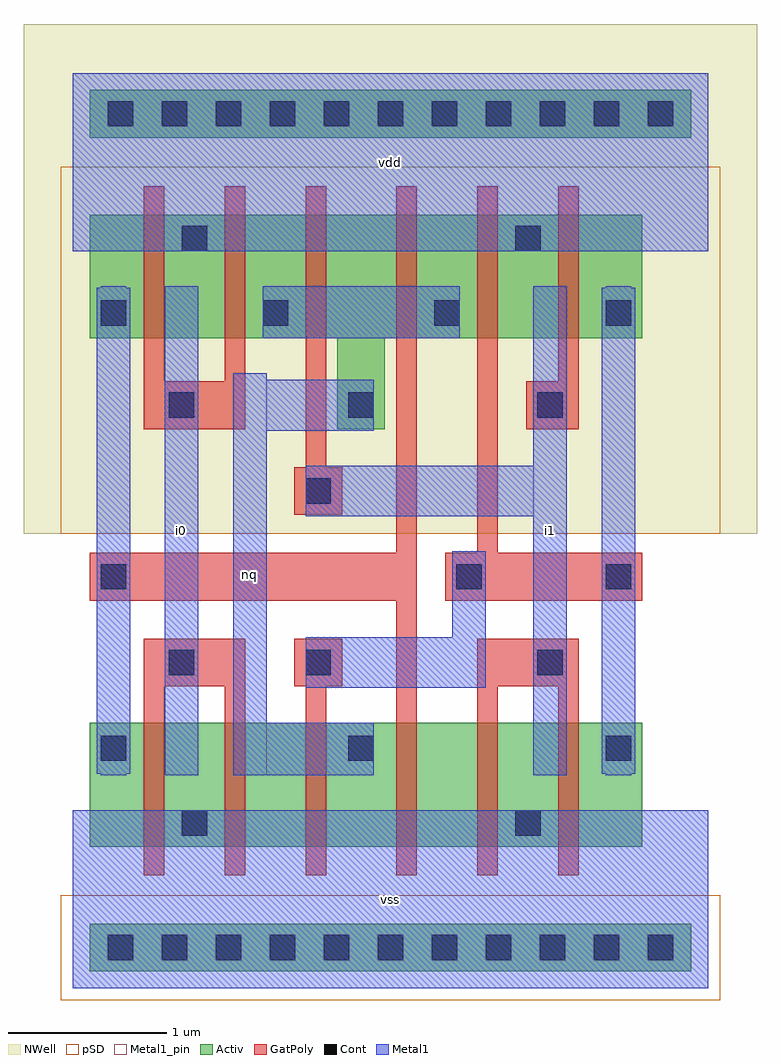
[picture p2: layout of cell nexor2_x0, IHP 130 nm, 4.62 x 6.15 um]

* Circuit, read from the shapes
.subckt nexor2_x0 i0 i1 nq vdd vss
XM1 vss i0 n1 vss sg13_lv_nmos w=0.78u l=0.13u
XM2 n2 i0 vss vss sg13_lv_nmos w=0.78u l=0.13u
XM3 nq n3 n2 vss sg13_lv_nmos w=0.78u l=0.13u
XM4 n4 n1 nq vss sg13_lv_nmos w=0.78u l=0.13u
XM5 vss i1 n4 vss sg13_lv_nmos w=0.78u l=0.13u
XM6 n3 i1 vss vss sg13_lv_nmos w=0.78u l=0.13u
XM7 vdd i0 n1 vdd sg13_lv_pmos w=0.78u l=0.13u
XM8 n5 i0 vdd vdd sg13_lv_pmos w=0.78u l=0.13u
XM9 nq i1 n5 vdd sg13_lv_pmos w=0.78u l=0.13u
XM10 n5 n1 nq vdd sg13_lv_pmos w=0.78u l=0.13u
XM11 vdd n3 n5 vdd sg13_lv_pmos w=0.78u l=0.13u
XM12 n3 i1 vdd vdd sg13_lv_pmos w=0.78u l=0.13u
.ends

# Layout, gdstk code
import gdstk
lib = gdstk.Library(unit=1e-6, precision=1e-09)
def R(c, l, rs):  # rectangles x0, y0, x1, y1
    for r in rs: c.add(gdstk.rectangle(r[:2], r[2:], *l))
def P(c, l, *ps):  # polygons
    for p in ps: c.add(gdstk.Polygon(p, *l))
Activ = (1, 0)
GatPoly = (5, 0)
Cont = (6, 0)
Metal1 = (8, 0)
Metal1_pin = (8, 2)
pSD = (14, 0)
NWell = (31, 0)

nexor2_x0 = lib.new_cell('nexor2_x0')
P(nexor2_x0, Activ, [(0.615,4.09),(0.615,4.87),(0.915,4.87),(0.915,4.09),(0.615,4.09)],
  [(0.955,4.09),(0.955,4.87),(1.085,4.87),(1.085,4.09),(0.955,4.09)],
  [(0.725,4.09),(0.725,4.87),(0.955,4.87),(0.955,4.09),(0.725,4.09)],
  [(0.105,5.355),(0.105,5.655),(3.895,5.655),(3.895,5.355),(0.105,5.355)],
  [(2.825,4.09),(2.825,4.87),(3.055,4.87),(3.055,4.09),(2.825,4.09)],
  [(0.445,4.09),(0.445,4.87),(0.575,4.87),(0.575,4.09),(0.445,4.09)],
  [(0.645,4.09),(0.645,4.87),(0.885,4.87),(0.885,4.09),(0.645,4.09)],
  [(2.035,4.09),(2.035,4.87),(2.165,4.87),(2.165,4.09),(2.035,4.09)],
  [(2.675,4.09),(2.675,4.87),(2.905,4.87),(2.905,4.09),(2.675,4.09)],
  [(0.15,5.355),(0.15,5.655),(3.85,5.655),(3.85,5.355),(0.15,5.355)],
  [(0.615,4.57),(0.615,4.87),(0.915,4.87),(0.915,4.57),(0.615,4.57)],
  [(2.545,4.09),(2.545,4.87),(2.675,4.87),(2.675,4.09),(2.545,4.09)],
  [(2.715,4.09),(2.715,4.87),(3.015,4.87),(3.015,4.09),(2.715,4.09)],
  [(3.055,4.09),(3.055,4.87),(3.185,4.87),(3.185,4.09),(3.055,4.09)],
  [(2.745,4.09),(2.745,4.87),(2.985,4.87),(2.985,4.09),(2.745,4.09)],
  [(0.575,4.09),(0.575,4.87),(0.805,4.87),(0.805,4.09),(0.575,4.09)],
  [(2.715,4.57),(2.715,4.87),(3.015,4.87),(3.015,4.57),(2.715,4.57)],
  [(1.465,4.09),(1.465,4.87),(1.595,4.87),(1.595,4.09),(1.465,4.09)],
  [(0.955,0.89),(0.955,1.67),(1.085,1.67),(1.085,0.89),(0.955,0.89)],
  [(0.615,0.89),(0.615,1.19),(0.915,1.19),(0.915,0.89),(0.615,0.89)],
  [(0.15,0.105),(0.15,0.405),(3.85,0.405),(3.85,0.105),(0.15,0.105)],
  [(2.545,0.89),(2.545,1.67),(2.675,1.67),(2.675,0.89),(2.545,0.89)],
  [(0.445,0.89),(0.445,1.67),(0.575,1.67),(0.575,0.89),(0.445,0.89)],
  [(2.715,0.89),(2.715,1.67),(3.015,1.67),(3.015,0.89),(2.715,0.89)],
  [(2.715,0.89),(2.715,1.19),(3.015,1.19),(3.015,0.89),(2.715,0.89)],
  [(0.615,0.89),(0.615,1.67),(0.915,1.67),(0.915,0.89),(0.615,0.89)],
  [(0.575,0.89),(0.575,1.67),(0.805,1.67),(0.805,0.89),(0.575,0.89)],
  [(2.035,0.89),(2.035,1.67),(2.165,1.67),(2.165,0.89),(2.035,0.89)],
  [(2.675,0.89),(2.675,1.67),(2.905,1.67),(2.905,0.89),(2.675,0.89)],
  [(0.105,0.105),(0.105,0.405),(3.895,0.405),(3.895,0.105),(0.105,0.105)],
  [(0.645,0.89),(0.645,1.67),(0.885,1.67),(0.885,0.89),(0.645,0.89)],
  [(0.725,0.89),(0.725,1.67),(0.955,1.67),(0.955,0.89),(0.725,0.89)],
  [(1.465,0.89),(1.465,1.67),(1.595,1.67),(1.595,0.89),(1.465,0.89)],
  [(2.825,0.89),(2.825,1.67),(3.055,1.67),(3.055,0.89),(2.825,0.89)],
  [(3.055,0.89),(3.055,1.67),(3.185,1.67),(3.185,0.89),(3.055,0.89)],
  [(2.745,0.89),(2.745,1.67),(2.985,1.67),(2.985,0.89),(2.745,0.89)],
  [(1.09,0.89),(1.09,1.67),(1.46,1.67),(1.46,0.89),(1.09,0.89)],
  [(1.235,0.89),(1.235,1.67),(1.465,1.67),(1.465,0.89),(1.235,0.89)],
  [(1.085,0.89),(1.085,1.67),(1.315,1.67),(1.315,0.89),(1.085,0.89)],
  [(1.155,0.89),(1.155,1.67),(1.395,1.67),(1.395,0.89),(1.155,0.89)],
  [(2.165,0.89),(2.165,1.67),(2.395,1.67),(2.395,0.89),(2.165,0.89)],
  [(2.17,0.89),(2.17,1.67),(2.54,1.67),(2.54,0.89),(2.17,0.89)],
  [(2.235,0.89),(2.235,1.67),(2.475,1.67),(2.475,0.89),(2.235,0.89)],
  [(2.315,0.89),(2.315,1.67),(2.545,1.67),(2.545,0.89),(2.315,0.89)],
  [(2.205,4.1),(2.205,4.4),(2.505,4.4),(2.505,4.1),(2.205,4.1)],
  [(1.125,4.09),(1.125,4.87),(1.425,4.87),(1.425,4.09),(1.125,4.09)],
  [(2.165,4.09),(2.165,4.87),(2.395,4.87),(2.395,4.09),(2.165,4.09)],
  [(2.235,4.09),(2.235,4.87),(2.475,4.87),(2.475,4.09),(2.235,4.09)],
  [(2.205,4.09),(2.205,4.87),(2.505,4.87),(2.505,4.09),(2.205,4.09)],
  [(2.315,4.09),(2.315,4.87),(2.545,4.87),(2.545,4.09),(2.315,4.09)],
  [(1.235,4.09),(1.235,4.87),(1.465,4.87),(1.465,4.09),(1.235,4.09)],
  [(1.125,4.1),(1.125,4.4),(1.425,4.4),(1.425,4.1),(1.125,4.1)],
  [(1.085,4.09),(1.085,4.87),(1.315,4.87),(1.315,4.09),(1.085,4.09)],
  [(1.155,4.09),(1.155,4.87),(1.395,4.87),(1.395,4.09),(1.155,4.09)],
  [(0.215,0.89),(0.215,1.67),(0.445,1.67),(0.445,0.89),(0.215,0.89)],
  [(0.105,0.89),(0.105,1.67),(0.375,1.67),(0.375,0.89),(0.105,0.89)],
  [(0.105,4.1),(0.105,4.4),(0.405,4.4),(0.405,4.1),(0.105,4.1)],
  [(0.105,0.89),(0.105,1.67),(0.405,1.67),(0.405,0.89),(0.105,0.89)],
  [(0.105,4.09),(0.105,4.87),(0.375,4.87),(0.375,4.09),(0.105,4.09)],
  [(0.105,1.36),(0.105,1.66),(0.405,1.66),(0.405,1.36),(0.105,1.36)],
  [(0.105,4.09),(0.105,4.87),(0.405,4.87),(0.405,4.09),(0.105,4.09)],
  [(0.215,4.09),(0.215,4.87),(0.445,4.87),(0.445,4.09),(0.215,4.09)],
  [(3.185,0.89),(3.185,1.67),(3.415,1.67),(3.415,0.89),(3.185,0.89)],
  [(3.185,4.09),(3.185,4.87),(3.415,4.87),(3.415,4.09),(3.185,4.09)],
  [(3.285,1.36),(3.285,1.66),(3.585,1.66),(3.585,1.36),(3.285,1.36)],
  [(3.285,0.89),(3.285,1.67),(3.585,1.67),(3.585,0.89),(3.285,0.89)],
  [(3.255,4.09),(3.255,4.87),(3.585,4.87),(3.585,4.09),(3.255,4.09)],
  [(3.285,4.1),(3.285,4.4),(3.585,4.4),(3.585,4.1),(3.285,4.1)],
  [(3.285,4.09),(3.285,4.87),(3.585,4.87),(3.585,4.09),(3.285,4.09)],
  [(3.255,0.89),(3.255,1.67),(3.585,1.67),(3.585,0.89),(3.255,0.89)],
  [(1.595,0.89),(1.595,1.67),(1.825,1.67),(1.825,0.89),(1.595,0.89)],
  [(1.665,0.89),(1.665,1.67),(1.965,1.67),(1.965,0.89),(1.665,0.89)],
  [(1.665,3.52),(1.665,3.82),(1.965,3.82),(1.965,3.52),(1.665,3.52)],
  [(1.665,3.52),(1.665,4.87),(1.965,4.87),(1.965,3.52),(1.665,3.52)],
  [(1.665,0.89),(1.665,1.67),(1.965,1.67),(1.965,0.89),(1.665,0.89)],
  [(1.805,4.09),(1.805,4.87),(2.035,4.87),(2.035,4.09),(1.805,4.09)],
  [(1.665,4.09),(1.665,4.87),(1.965,4.87),(1.965,4.09),(1.665,4.09)],
  [(1.805,0.89),(1.805,1.67),(2.035,1.67),(2.035,0.89),(1.805,0.89)],
  [(1.665,1.36),(1.665,1.66),(1.965,1.66),(1.965,1.36),(1.665,1.36)],
  [(1.595,4.09),(1.595,4.87),(1.825,4.87),(1.825,4.09),(1.595,4.09)])
P(nexor2_x0, GatPoly, [(0.535,3.52),(0.535,3.82),(0.835,3.82),(0.835,3.52),(0.535,3.52)],
  [(0.445,0.71),(0.445,2.2),(0.575,2.2),(0.575,0.71),(0.445,0.71)],
  [(0.445,3.91),(0.445,5.05),(0.575,5.05),(0.575,3.91),(0.445,3.91)],
  [(0.51,1.9),(0.51,2.2),(1.02,2.2),(1.02,1.9),(0.51,1.9)],
  [(0.445,3.52),(0.445,5.05),(0.575,5.05),(0.575,3.52),(0.445,3.52)],
  [(0.955,3.91),(0.955,5.05),(1.085,5.05),(1.085,3.91),(0.955,3.91)],
  [(0.535,1.9),(0.535,2.2),(0.835,2.2),(0.835,1.9),(0.535,1.9)],
  [(0.445,0.71),(0.445,1.85),(0.575,1.85),(0.575,0.71),(0.445,0.71)],
  [(0.955,0.71),(0.955,2.2),(1.085,2.2),(1.085,0.71),(0.955,0.71)],
  [(0.51,3.52),(0.51,3.82),(1.02,3.82),(1.02,3.52),(0.51,3.52)],
  [(0.955,0.71),(0.955,1.85),(1.085,1.85),(1.085,0.71),(0.955,0.71)],
  [(0.955,3.52),(0.955,5.05),(1.085,5.05),(1.085,3.52),(0.955,3.52)],
  [(2.035,3.91),(2.035,5.05),(2.165,5.05),(2.165,3.91),(2.035,3.91)],
  [(2.035,0.71),(2.035,1.85),(2.165,1.85),(2.165,0.71),(2.035,0.71)],
  [(0.255,2.44),(0.255,2.74),(2.1,2.74),(2.1,2.44),(0.255,2.44)],
  [(0.105,2.44),(0.105,2.74),(0.405,2.74),(0.405,2.44),(0.105,2.44)],
  [(2.035,0.71),(2.035,3.91),(2.165,3.91),(2.165,0.71),(2.035,0.71)],
  [(3.005,3.52),(3.005,3.82),(3.12,3.82),(3.12,3.52),(3.005,3.52)],
  [(1.53,2.98),(1.53,3.28),(1.545,3.28),(1.545,2.98),(1.53,2.98)],
  [(3.055,0.71),(3.055,2.2),(3.185,2.2),(3.185,0.71),(3.055,0.71)],
  [(1.395,2.98),(1.395,3.28),(1.695,3.28),(1.695,2.98),(1.395,2.98)],
  [(2.855,1.9),(2.855,2.2),(3.155,2.2),(3.155,1.9),(2.855,1.9)],
  [(2.545,0.71),(2.545,1.85),(2.675,1.85),(2.675,0.71),(2.545,0.71)],
  [(3.055,3.91),(3.055,5.05),(3.185,5.05),(3.185,3.91),(3.055,3.91)],
  [(3.055,3.52),(3.055,5.05),(3.185,5.05),(3.185,3.52),(3.055,3.52)],
  [(2.545,0.71),(2.545,2.2),(2.675,2.2),(2.675,0.71),(2.545,0.71)],
  [(1.465,2.98),(1.465,5.05),(1.595,5.05),(1.595,2.98),(1.465,2.98)],
  [(2.61,1.9),(2.61,2.2),(3.12,2.2),(3.12,1.9),(2.61,1.9)],
  [(3.055,0.71),(3.055,1.85),(3.185,1.85),(3.185,0.71),(3.055,0.71)],
  [(1.465,3.91),(1.465,5.05),(1.595,5.05),(1.595,3.91),(1.465,3.91)],
  [(2.855,3.52),(2.855,3.82),(3.155,3.82),(3.155,3.52),(2.855,3.52)],
  [(2.545,3.91),(2.545,5.05),(2.675,5.05),(2.675,3.91),(2.545,3.91)],
  [(2.545,2.44),(2.545,5.05),(2.675,5.05),(2.675,2.44),(2.545,2.44)],
  [(1.465,0.71),(1.465,1.85),(1.595,1.85),(1.595,0.71),(1.465,0.71)],
  [(1.53,1.9),(1.53,2.2),(1.545,2.2),(1.545,1.9),(1.53,1.9)],
  [(1.395,1.9),(1.395,2.2),(1.695,2.2),(1.695,1.9),(1.395,1.9)],
  [(1.465,0.71),(1.465,2.2),(1.595,2.2),(1.595,0.71),(1.465,0.71)],
  [(2.495,2.44),(2.495,2.74),(3.435,2.74),(3.435,2.44),(2.495,2.44)],
  [(2.345,2.44),(2.345,2.74),(2.645,2.74),(2.645,2.44),(2.345,2.44)],
  [(3.285,2.44),(3.285,2.74),(3.585,2.74),(3.585,2.44),(3.285,2.44)])
P(nexor2_x0, Cont, [(2.785,4.64),(2.785,4.8),(2.945,4.8),(2.945,4.64),(2.785,4.64)],
  [(0.685,4.64),(0.685,4.8),(0.845,4.8),(0.845,4.64),(0.685,4.64)],
  [(3.62,5.425),(3.62,5.585),(3.78,5.585),(3.78,5.425),(3.62,5.425)],
  [(3.28,5.425),(3.28,5.585),(3.44,5.585),(3.44,5.425),(3.28,5.425)],
  [(2.94,5.425),(2.94,5.585),(3.1,5.585),(3.1,5.425),(2.94,5.425)],
  [(2.6,5.425),(2.6,5.585),(2.76,5.585),(2.76,5.425),(2.6,5.425)],
  [(2.26,5.425),(2.26,5.585),(2.42,5.585),(2.42,5.425),(2.26,5.425)],
  [(1.92,5.425),(1.92,5.585),(2.08,5.585),(2.08,5.425),(1.92,5.425)],
  [(1.58,5.425),(1.58,5.585),(1.74,5.585),(1.74,5.425),(1.58,5.425)],
  [(1.24,5.425),(1.24,5.585),(1.4,5.585),(1.4,5.425),(1.24,5.425)],
  [(0.9,5.425),(0.9,5.585),(1.06,5.585),(1.06,5.425),(0.9,5.425)],
  [(0.56,5.425),(0.56,5.585),(0.72,5.585),(0.72,5.425),(0.56,5.425)],
  [(0.22,5.425),(0.22,5.585),(0.38,5.585),(0.38,5.425),(0.22,5.425)],
  [(2.785,0.96),(2.785,1.12),(2.945,1.12),(2.945,0.96),(2.785,0.96)],
  [(0.685,0.96),(0.685,1.12),(0.845,1.12),(0.845,0.96),(0.685,0.96)],
  [(3.62,0.175),(3.62,0.335),(3.78,0.335),(3.78,0.175),(3.62,0.175)],
  [(3.28,0.175),(3.28,0.335),(3.44,0.335),(3.44,0.175),(3.28,0.175)],
  [(2.94,0.175),(2.94,0.335),(3.1,0.335),(3.1,0.175),(2.94,0.175)],
  [(2.6,0.175),(2.6,0.335),(2.76,0.335),(2.76,0.175),(2.6,0.175)],
  [(2.26,0.175),(2.26,0.335),(2.42,0.335),(2.42,0.175),(2.26,0.175)],
  [(1.92,0.175),(1.92,0.335),(2.08,0.335),(2.08,0.175),(1.92,0.175)],
  [(1.58,0.175),(1.58,0.335),(1.74,0.335),(1.74,0.175),(1.58,0.175)],
  [(1.24,0.175),(1.24,0.335),(1.4,0.335),(1.4,0.175),(1.24,0.175)],
  [(0.22,0.175),(0.22,0.335),(0.38,0.335),(0.38,0.175),(0.22,0.175)],
  [(0.56,0.175),(0.56,0.335),(0.72,0.335),(0.72,0.175),(0.56,0.175)],
  [(0.9,0.175),(0.9,0.335),(1.06,0.335),(1.06,0.175),(0.9,0.175)],
  [(2.275,4.17),(2.275,4.33),(2.435,4.33),(2.435,4.17),(2.275,4.17)],
  [(1.195,4.17),(1.195,4.33),(1.355,4.33),(1.355,4.17),(1.195,4.17)],
  [(0.605,1.97),(0.605,2.13),(0.765,2.13),(0.765,1.97),(0.605,1.97)],
  [(0.605,3.59),(0.605,3.75),(0.765,3.75),(0.765,3.59),(0.605,3.59)],
  [(0.175,2.51),(0.175,2.67),(0.335,2.67),(0.335,2.51),(0.175,2.51)],
  [(0.175,1.43),(0.175,1.59),(0.335,1.59),(0.335,1.43),(0.175,1.43)],
  [(0.175,4.17),(0.175,4.33),(0.335,4.33),(0.335,4.17),(0.175,4.17)],
  [(2.925,1.97),(2.925,2.13),(3.085,2.13),(3.085,1.97),(2.925,1.97)],
  [(1.465,3.05),(1.465,3.21),(1.625,3.21),(1.625,3.05),(1.465,3.05)],
  [(2.925,3.59),(2.925,3.75),(3.085,3.75),(3.085,3.59),(2.925,3.59)],
  [(3.355,2.51),(3.355,2.67),(3.515,2.67),(3.515,2.51),(3.355,2.51)],
  [(3.355,1.43),(3.355,1.59),(3.515,1.59),(3.515,1.43),(3.355,1.43)],
  [(3.355,4.17),(3.355,4.33),(3.515,4.33),(3.515,4.17),(3.355,4.17)],
  [(2.415,2.51),(2.415,2.67),(2.575,2.67),(2.575,2.51),(2.415,2.51)],
  [(1.465,1.97),(1.465,2.13),(1.625,2.13),(1.625,1.97),(1.465,1.97)],
  [(1.735,1.43),(1.735,1.59),(1.895,1.59),(1.895,1.43),(1.735,1.43)],
  [(1.735,3.59),(1.735,3.75),(1.895,3.75),(1.895,3.59),(1.735,3.59)])
R(nexor2_x0, Metal1, [(0,0,4,1.12), (0.58,1.34,0.79,4.42), (1.01,1.34,1.22,3.87), (2.9,1.34,3.11,4.42), (0,4.64,4,5.76)])
P(nexor2_x0, Metal1, [(0.605,4.64),(0.605,4.8),(0.925,4.8),(0.925,4.64),(0.605,4.64)],
  [(2.705,4.64),(2.705,4.8),(3.025,4.8),(3.025,4.64),(2.705,4.64)],
  [(0.22,5.345),(0.22,5.665),(3.78,5.665),(3.78,5.345),(0.22,5.345)],
  [(0,4.64),(0,5.76),(4,5.76),(4,4.64),(0,4.64)],
  [(2.705,0.96),(2.705,1.12),(3.025,1.12),(3.025,0.96),(2.705,0.96)],
  [(0.605,0.96),(0.605,1.12),(0.925,1.12),(0.925,0.96),(0.605,0.96)],
  [(0,0),(0,1.12),(4,1.12),(4,0),(0,0)],
  [(0.22,0.095),(0.22,0.415),(3.78,0.415),(3.78,0.095),(0.22,0.095)],
  [(2.275,4.09),(2.275,4.41),(2.435,4.41),(2.435,4.09),(2.275,4.09)],
  [(1.275,4.09),(1.275,4.42),(2.355,4.42),(2.355,4.09),(1.275,4.09)],
  [(2.275,4.09),(2.275,4.42),(2.435,4.42),(2.435,4.09),(2.275,4.09)],
  [(1.195,4.09),(1.195,4.41),(1.355,4.41),(1.355,4.09),(1.195,4.09)],
  [(1.195,4.09),(1.195,4.42),(1.355,4.42),(1.355,4.09),(1.195,4.09)],
  [(0.605,3.51),(0.605,3.83),(0.765,3.83),(0.765,3.51),(0.605,3.51)],
  [(0.58,1.34),(0.58,4.42),(0.79,4.42),(0.79,1.34),(0.58,1.34)],
  [(0.605,1.89),(0.605,2.21),(0.765,2.21),(0.765,1.89),(0.605,1.89)],
  [(0.175,1.35),(0.175,1.67),(0.335,1.67),(0.335,1.35),(0.175,1.35)],
  [(0.175,1.34),(0.175,1.67),(0.335,1.67),(0.335,1.34),(0.175,1.34)],
  [(0.175,2.43),(0.175,2.75),(0.335,2.75),(0.335,2.43),(0.175,2.43)],
  [(0.15,1.35),(0.15,4.41),(0.36,4.41),(0.36,1.35),(0.15,1.35)],
  [(0.175,4.09),(0.175,4.42),(0.335,4.42),(0.335,4.09),(0.175,4.09)],
  [(0.175,4.09),(0.175,4.41),(0.335,4.41),(0.335,4.09),(0.175,4.09)],
  [(2.925,3.51),(2.925,3.83),(3.085,3.83),(3.085,3.51),(2.925,3.51)],
  [(2.925,1.89),(2.925,2.21),(3.085,2.21),(3.085,1.89),(2.925,1.89)],
  [(1.545,2.97),(1.545,3.29),(3.005,3.29),(3.005,2.97),(1.545,2.97)],
  [(2.9,1.34),(2.9,4.42),(3.11,4.42),(3.11,1.34),(2.9,1.34)],
  [(1.465,2.97),(1.465,3.29),(1.625,3.29),(1.625,2.97),(1.465,2.97)],
  [(2.9,2.97),(2.9,3.29),(3.11,3.29),(3.11,2.97),(2.9,2.97)],
  [(2.415,2.43),(2.415,2.75),(2.575,2.75),(2.575,2.43),(2.415,2.43)],
  [(3.355,1.34),(3.355,1.67),(3.515,1.67),(3.515,1.34),(3.355,1.34)],
  [(3.355,4.09),(3.355,4.42),(3.515,4.42),(3.515,4.09),(3.355,4.09)],
  [(3.33,1.35),(3.33,4.41),(3.54,4.41),(3.54,1.35),(3.33,1.35)],
  [(1.545,1.89),(1.545,2.21),(2.495,2.21),(2.495,1.89),(1.545,1.89)],
  [(1.465,1.89),(1.465,2.21),(1.625,2.21),(1.625,1.89),(1.465,1.89)],
  [(2.39,1.89),(2.39,2.21),(2.6,2.21),(2.6,1.89),(2.39,1.89)],
  [(3.355,4.09),(3.355,4.41),(3.515,4.41),(3.515,4.09),(3.355,4.09)],
  [(2.39,1.89),(2.39,2.75),(2.6,2.75),(2.6,1.89),(2.39,1.89)],
  [(3.355,2.43),(3.355,2.75),(3.515,2.75),(3.515,2.43),(3.355,2.43)],
  [(3.355,1.35),(3.355,1.67),(3.515,1.67),(3.515,1.35),(3.355,1.35)],
  [(1.01,1.34),(1.01,3.87),(1.22,3.87),(1.22,1.34),(1.01,1.34)],
  [(1.735,1.34),(1.735,1.67),(1.895,1.67),(1.895,1.34),(1.735,1.34)],
  [(1.735,1.35),(1.735,1.67),(1.895,1.67),(1.895,1.35),(1.735,1.35)],
  [(1.115,1.34),(1.115,1.67),(1.815,1.67),(1.815,1.34),(1.115,1.34)],
  [(1.01,3.51),(1.01,3.83),(1.22,3.83),(1.22,3.51),(1.01,3.51)],
  [(1.115,3.51),(1.115,3.83),(1.815,3.83),(1.815,3.51),(1.115,3.51)],
  [(1.01,1.35),(1.01,1.67),(1.22,1.67),(1.22,1.35),(1.01,1.35)],
  [(1.735,3.51),(1.735,3.83),(1.895,3.83),(1.895,3.51),(1.735,3.51)])
R(nexor2_x0, Metal1_pin, [(0,0,4,1.12), (0,0,4,1.12), (0.58,1.34,0.79,4.42), (0.58,1.34,0.79,4.42), (1.01,1.34,1.22,3.87), (1.01,1.34,1.22,3.87), (2.9,1.34,3.11,4.42), (2.9,1.34,3.11,4.42), (0,4.64,4,5.76), (0,4.64,4,5.76)])
P(nexor2_x0, pSD, [(2.135,3.91),(2.135,5.05),(3.085,5.05),(3.085,3.91),(2.135,3.91)],
  [(2.025,3.8),(2.025,4.7),(2.685,4.7),(2.685,3.8),(2.025,3.8)],
  [(1.485,3.34),(1.485,4),(2.145,4),(2.145,3.34),(1.485,3.34)],
  [(2.535,4.27),(2.535,5.17),(3.195,5.17),(3.195,4.27),(2.535,4.27)],
  [(0.465,3.79),(0.465,5.17),(1.065,5.17),(1.065,3.79),(0.465,3.79)],
  [(2.055,3.79),(2.055,5.17),(2.655,5.17),(2.655,3.79),(2.055,3.79)],
  [(0.145,3.79),(0.145,5.17),(0.875,5.17),(0.875,3.79),(0.145,3.79)],
  [(3.105,3.8),(3.105,4.7),(3.765,4.7),(3.765,3.8),(3.105,3.8)],
  [(3.105,3.79),(3.105,5.17),(3.765,5.17),(3.765,3.79),(3.105,3.79)],
  [(0.945,3.79),(0.945,5.17),(1.605,5.17),(1.605,3.79),(0.945,3.79)],
  [(2.645,3.91),(2.645,5.05),(3.595,5.05),(3.595,3.91),(2.645,3.91)],
  [(2.535,3.79),(2.535,5.17),(3.195,5.17),(3.195,3.79),(2.535,3.79)],
  [(0.035,3.91),(0.035,5.05),(0.985,5.05),(0.985,3.91),(0.035,3.91)],
  [(2.565,3.79),(2.565,5.17),(3.165,5.17),(3.165,3.79),(2.565,3.79)],
  [(1.625,3.91),(1.625,5.05),(2.575,5.05),(2.575,3.91),(1.625,3.91)],
  [(1.735,3.79),(1.735,5.17),(2.465,5.17),(2.465,3.79),(1.735,3.79)],
  [(2.245,3.79),(2.245,5.17),(2.975,5.17),(2.975,3.79),(2.245,3.79)],
  [(0.545,3.91),(0.545,5.05),(1.495,5.05),(1.495,3.91),(0.545,3.91)],
  [(0.435,4.27),(0.435,5.17),(1.095,5.17),(1.095,4.27),(0.435,4.27)],
  [(1.485,3.79),(1.485,5.17),(2.145,5.17),(2.145,3.79),(1.485,3.79)],
  [(-0.075,2.86),(-0.075,5.17),(4.075,5.17),(4.075,2.86),(-0.075,2.86)],
  [(-0.03,-0.075),(-0.03,0.585),(4.03,0.585),(4.03,-0.075),(-0.03,-0.075)],
  [(0.975,3.79),(0.975,5.17),(1.575,5.17),(1.575,3.79),(0.975,3.79)],
  [(2.025,3.79),(2.025,5.17),(2.685,5.17),(2.685,3.79),(2.025,3.79)],
  [(1.165,3.79),(1.165,5.17),(1.895,5.17),(1.895,3.79),(1.165,3.79)],
  [(3.075,3.79),(3.075,5.17),(3.765,5.17),(3.765,3.79),(3.075,3.79)],
  [(-0.075,3.79),(-0.075,5.17),(0.555,5.17),(0.555,3.79),(-0.075,3.79)],
  [(-0.075,3.8),(-0.075,4.7),(0.585,4.7),(0.585,3.8),(-0.075,3.8)],
  [(-0.075,3.79),(-0.075,5.17),(0.585,5.17),(0.585,3.79),(-0.075,3.79)],
  [(0.655,3.79),(0.655,5.17),(1.385,5.17),(1.385,3.79),(0.655,3.79)],
  [(1.485,3.34),(1.485,5.05),(2.145,5.05),(2.145,3.34),(1.485,3.34)],
  [(2.755,3.79),(2.755,5.17),(3.485,5.17),(3.485,3.79),(2.755,3.79)],
  [(-0.075,-0.075),(-0.075,0.585),(4.075,0.585),(4.075,-0.075),(-0.075,-0.075)],
  [(0.435,3.79),(0.435,5.17),(1.095,5.17),(1.095,3.79),(0.435,3.79)],
  [(0.945,3.8),(0.945,4.7),(1.605,4.7),(1.605,3.8),(0.945,3.8)],
  [(1.055,3.91),(1.055,5.05),(2.005,5.05),(2.005,3.91),(1.055,3.91)])
P(nexor2_x0, NWell, [(-0.095,3.78),(-0.095,5.18),(1.115,5.18),(1.115,3.78),(-0.095,3.78)],
  [(2.435,3.78),(2.435,5.18),(3.295,5.18),(3.295,3.78),(2.435,3.78)],
  [(-0.205,3.78),(-0.205,5.18),(0.685,5.18),(0.685,3.78),(-0.205,3.78)],
  [(0.335,3.78),(0.335,5.18),(1.195,5.18),(1.195,3.78),(0.335,3.78)],
  [(0.305,3.78),(0.305,5.18),(1.225,5.18),(1.225,3.78),(0.305,3.78)],
  [(0.925,3.78),(0.925,5.18),(2.135,5.18),(2.135,3.78),(0.925,3.78)],
  [(1.895,3.79),(1.895,4.71),(2.815,4.71),(2.815,3.79),(1.895,3.79)],
  [(1.355,3.21),(1.355,5.18),(2.275,5.18),(2.275,3.21),(1.355,3.21)],
  [(2.975,3.79),(2.975,4.71),(3.895,4.71),(3.895,3.79),(2.975,3.79)],
  [(2.945,3.78),(2.945,5.18),(3.895,5.18),(3.895,3.78),(2.945,3.78)],
  [(0.815,3.79),(0.815,4.71),(1.735,4.71),(1.735,3.79),(0.815,3.79)],
  [(0.815,3.78),(0.815,5.18),(1.735,5.18),(1.735,3.78),(0.815,3.78)],
  [(2.515,3.78),(2.515,5.18),(3.725,5.18),(3.725,3.78),(2.515,3.78)],
  [(-0.205,3.78),(-0.205,5.18),(0.715,5.18),(0.715,3.78),(-0.205,3.78)],
  [(2.975,3.78),(2.975,5.18),(3.895,5.18),(3.895,3.78),(2.975,3.78)],
  [(2.405,4.26),(2.405,5.18),(3.325,5.18),(3.325,4.26),(2.405,4.26)],
  [(-0.205,5.045),(-0.205,5.965),(4.205,5.965),(4.205,5.045),(-0.205,5.045)],
  [(1.925,3.78),(1.925,5.18),(2.785,5.18),(2.785,3.78),(1.925,3.78)],
  [(1.495,3.78),(1.495,5.18),(2.705,5.18),(2.705,3.78),(1.495,3.78)],
  [(0.415,3.78),(0.415,5.18),(1.625,5.18),(1.625,3.78),(0.415,3.78)],
  [(-0.205,3.79),(-0.205,4.71),(0.715,4.71),(0.715,3.79),(-0.205,3.79)],
  [(2.405,3.78),(2.405,5.18),(3.325,5.18),(3.325,3.78),(2.405,3.78)],
  [(-0.16,5.045),(-0.16,5.965),(4.16,5.965),(4.16,5.045),(-0.16,5.045)],
  [(1.895,3.78),(1.895,5.18),(2.815,5.18),(2.815,3.78),(1.895,3.78)],
  [(1.355,3.21),(1.355,4.13),(2.275,4.13),(2.275,3.21),(1.355,3.21)],
  [(-0.31,2.86),(-0.31,6.07),(4.31,6.07),(4.31,2.86),(-0.31,2.86)],
  [(0.845,3.78),(0.845,5.18),(1.705,5.18),(1.705,3.78),(0.845,3.78)],
  [(0.305,4.26),(0.305,5.18),(1.225,5.18),(1.225,4.26),(0.305,4.26)],
  [(2.005,3.78),(2.005,5.18),(3.215,5.18),(3.215,3.78),(2.005,3.78)],
  [(1.355,3.78),(1.355,5.18),(2.275,5.18),(2.275,3.78),(1.355,3.78)])
nexor2_x0.add(gdstk.Label('vdd', (2,5.2), layer=8, texttype=25))
nexor2_x0.add(gdstk.Label('vss', (2,0.56), layer=8, texttype=25))
nexor2_x0.add(gdstk.Label('i0', (0.685,2.88), layer=8, texttype=25))
nexor2_x0.add(gdstk.Label('i1', (3.005,2.88), layer=8, texttype=25))
nexor2_x0.add(gdstk.Label('nq', (1.115,2.605), layer=8, texttype=25))

lib.write_gds('nexor2_x0.gds')
